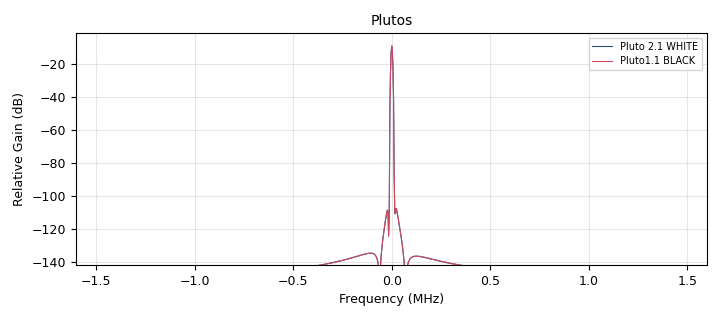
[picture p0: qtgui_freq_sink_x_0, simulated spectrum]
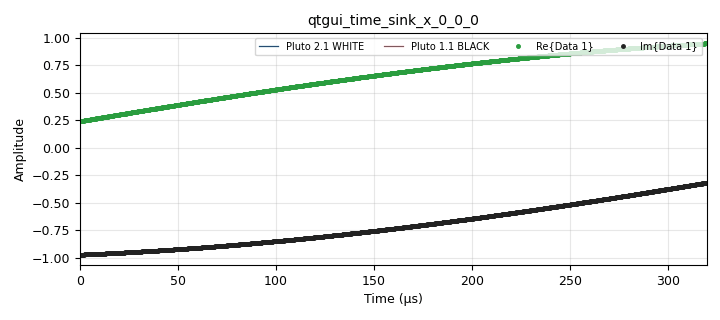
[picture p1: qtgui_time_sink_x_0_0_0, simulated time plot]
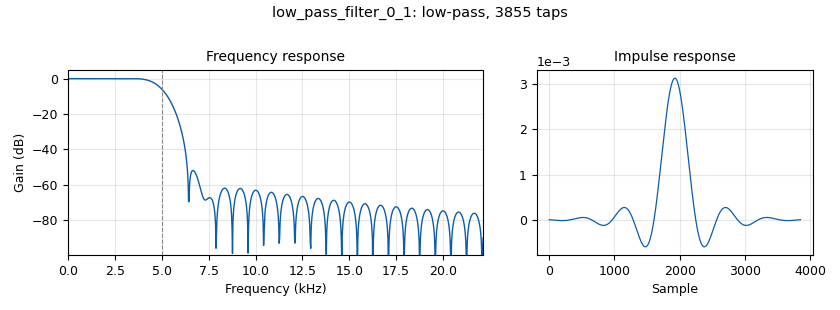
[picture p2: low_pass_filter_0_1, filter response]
options:
  parameters:
    generate_options: qt_gui
    id: clockSync
    output_language: python
    title: Clock Sync
  states: {}

blocks:
- name: baseband
  id: variable
  parameters:
    value: '500'
  states: {}
- name: freq
  id: variable
  parameters:
    value: '100000000'
  states: {}
- name: samp_rate
  id: variable
  parameters:
    value: '3200000'
  states: {}
- name: analog_sig_source_x_0
  id: analog_sig_source_x
  parameters:
    amp: '1'
    freq: baseband
    offset: '0'
    phase: '0'
    samp_rate: samp_rate
    type: complex
    waveform: analog.GR_COS_WAVE
  states: {state: disabled}
- name: analog_sig_source_x_0_0
  id: analog_sig_source_x
  parameters:
    amp: '1'
    freq: baseband
    offset: '0'
    phase: '0'
    samp_rate: samp_rate
    type: complex
    waveform: analog.GR_COS_WAVE
  states: {}
- name: iio_pluto_sink_0
  id: iio_pluto_sink
  parameters:
    attenuation1: '0.0'
    bandwidth: '20000000'
    buffer_size: '32768'
    cyclic: 'False'
    filter_source: '''Auto'''
    frequency: freq
    samplerate: samp_rate
    type: fc32
    uri: ip:192.168.3.1
  states: {state: disabled}
- name: iio_pluto_sink_0_0
  id: iio_pluto_sink
  parameters:
    attenuation1: '0.0'
    bandwidth: '20000000'
    buffer_size: '32768'
    cyclic: 'False'
    filter_source: '''Auto'''
    frequency: freq
    samplerate: samp_rate
    type: fc32
    uri: ip:192.168.2.1
  states: {}
- name: iio_pluto_sink_0_0_0
  id: iio_pluto_sink
  parameters:
    attenuation1: '0.0'
    bandwidth: '20000000'
    buffer_size: '32768'
    cyclic: 'False'
    filter_source: '''Auto'''
    frequency: freq
    samplerate: samp_rate
    type: fc32
    uri: ip:192.168.1.1
  states: {}
- name: iio_pluto_source_0
  id: iio_pluto_source
  parameters:
    bandwidth: '20000000'
    bbdc: 'True'
    buffer_size: '32768'
    filter_source: '''Auto'''
    frequency: freq
    gain1: '''slow_attack'''
    quadrature: 'True'
    rfdc: 'True'
    samplerate: samp_rate
    type: fc32
    uri: ip:192.168.2.1
  states: {state: disabled}
- name: iio_pluto_source_0_0
  id: iio_pluto_source
  parameters:
    bandwidth: '20000000'
    bbdc: 'True'
    buffer_size: '32768'
    filter_source: '''Auto'''
    frequency: freq
    gain1: '''slow_attack'''
    quadrature: 'True'
    rfdc: 'True'
    samplerate: samp_rate
    type: fc32
    uri: ip:192.168.1.1
  states: {state: disabled}
- name: iio_pluto_source_0_1
  id: iio_pluto_source
  parameters:
    bandwidth: '20000000'
    bbdc: 'True'
    buffer_size: '32768'
    filter_source: '''Auto'''
    frequency: freq
    gain1: '''slow_attack'''
    quadrature: 'True'
    rfdc: 'True'
    samplerate: samp_rate
    type: fc32
    uri: ip:192.168.2.4
  states: {state: disabled}
- name: iio_pluto_source_0_2
  id: iio_pluto_source
  parameters:
    bandwidth: '20000000'
    bbdc: 'True'
    buffer_size: '32768'
    filter_source: '''Auto'''
    frequency: freq
    gain1: '''slow_attack'''
    quadrature: 'True'
    rfdc: 'True'
    samplerate: samp_rate
    type: fc32
    uri: ip:192.168.2.5
  states: {state: disabled}
- name: low_pass_filter_0
  id: low_pass_filter
  parameters:
    cutoff_freq: '5000'
    decim: '1'
    gain: '1'
    samp_rate: samp_rate
    type: fir_filter_ccf
    width: '2000'
    win: window.WIN_HAMMING
  states: {state: disabled}
- name: low_pass_filter_0_0
  id: low_pass_filter
  parameters:
    cutoff_freq: '5000'
    decim: '1'
    gain: '1'
    samp_rate: samp_rate
    type: fir_filter_ccf
    width: '2000'
    win: window.WIN_HAMMING
  states: {state: disabled}
- name: low_pass_filter_0_0_0
  id: low_pass_filter
  parameters:
    cutoff_freq: '5000'
    decim: '1'
    gain: '1'
    samp_rate: samp_rate
    type: fir_filter_ccf
    width: '2000'
    win: window.WIN_HAMMING
  states: {state: disabled}
- name: low_pass_filter_0_0_1
  id: low_pass_filter
  parameters:
    cutoff_freq: '5000'
    decim: '1'
    gain: '1'
    samp_rate: samp_rate
    type: fir_filter_ccf
    width: '2000'
    win: window.WIN_HAMMING
  states: {state: disabled}
- name: low_pass_filter_0_0_1_0
  id: low_pass_filter
  parameters:
    cutoff_freq: '5000'
    decim: '1'
    gain: '1'
    samp_rate: samp_rate
    type: fir_filter_ccf
    width: '2000'
    win: window.WIN_HAMMING
  states: {state: disabled}
- name: low_pass_filter_0_1
  id: low_pass_filter
  parameters:
    cutoff_freq: '5000'
    decim: '1'
    gain: '1'
    samp_rate: samp_rate
    type: fir_filter_ccf
    width: '2000'
    win: window.WIN_HAMMING
  states: {}
- name: low_pass_filter_0_1_0
  id: low_pass_filter
  parameters:
    cutoff_freq: '5000'
    decim: '1'
    gain: '1'
    samp_rate: samp_rate
    type: fir_filter_ccf
    width: '2000'
    win: window.WIN_HAMMING
  states: {}
- name: qtgui_freq_sink_x_0
  id: qtgui_freq_sink_x
  parameters:
    autoscale: 'True'
    bw: samp_rate
    fc: '0'
    fftsize: '1024'
    label1: '"Pluto 2.1 WHITE"'
    label2: '"Pluto1.1 BLACK"'
    name: '"Plutos"'
    nconnections: '2'
    type: complex
    ymin: '-180'
  states: {}
- name: qtgui_freq_sink_x_0_0
  id: qtgui_freq_sink_x
  parameters:
    bw: samp_rate
    fc: '0'
    fftsize: '1024'
    label1: '"Pluto 2.1 WHITE"'
    label2: '"Pluto1.1 BLACK"'
    name: '"Plutos"'
    nconnections: '2'
    type: complex
    ymin: '-180'
  states: {state: disabled}
- name: qtgui_freq_sink_x_0_1
  id: qtgui_freq_sink_x
  parameters:
    bw: samp_rate
    fc: '0'
    fftsize: '1024'
    type: complex
  states: {state: disabled}
- name: qtgui_freq_sink_x_0_2
  id: qtgui_freq_sink_x
  parameters:
    bw: samp_rate
    fc: '0'
    fftsize: '1024'
    type: complex
  states: {state: disabled}
- name: qtgui_time_sink_x_0
  id: qtgui_time_sink_x
  parameters:
    label1: Pluto 2.1 WHITE
    label2: Pluto 1.1 BLACK
    nconnections: '2'
    size: '1024'
    srate: samp_rate
    style3: '0'
    style4: '0'
    type: complex
    width3: '0'
    width4: '0'
    ymax: '1.5'
    ymin: '-1.5'
  states: {state: disabled}
- name: qtgui_time_sink_x_0_0
  id: qtgui_time_sink_x
  parameters:
    label1: Pluto 2.1 WHITE
    label2: Pluto 1.1 BLACK
    nconnections: '2'
    size: '1024'
    srate: samp_rate
    style3: '0'
    style4: '0'
    type: complex
    width3: '0'
    width4: '0'
    ymax: '1.5'
    ymin: '-1.5'
  states: {state: disabled}
- name: qtgui_time_sink_x_0_0_0
  id: qtgui_time_sink_x
  parameters:
    autoscale: 'True'
    label1: Pluto 2.1 WHITE
    label2: Pluto 1.1 BLACK
    nconnections: '2'
    size: '1024'
    srate: samp_rate
    style3: '0'
    style4: '0'
    type: complex
    width3: '0'
    width4: '0'
    ymax: '1.5'
    ymin: '-1.5'
  states: {}

connections:
- [analog_sig_source_x_0, '0', low_pass_filter_0, '0']
- [analog_sig_source_x_0_0, '0', low_pass_filter_0_1, '0']
- [analog_sig_source_x_0_0, '0', low_pass_filter_0_1_0, '0']
- [iio_pluto_source_0, '0', low_pass_filter_0_0, '0']
- [iio_pluto_source_0_0, '0', low_pass_filter_0_0_0, '0']
- [iio_pluto_source_0_1, '0', low_pass_filter_0_0_1, '0']
- [iio_pluto_source_0_2, '0', low_pass_filter_0_0_1_0, '0']
- [low_pass_filter_0, '0', iio_pluto_sink_0, '0']
- [low_pass_filter_0_0, '0', qtgui_time_sink_x_0, '0']
- [low_pass_filter_0_0_0, '0', qtgui_time_sink_x_0, '1']
- [low_pass_filter_0_0_0, '0', qtgui_time_sink_x_0_0, '0']
- [low_pass_filter_0_0_0, '0', qtgui_time_sink_x_0_0, '1']
- [low_pass_filter_0_0_1, '0', qtgui_freq_sink_x_0_1, '0']
- [low_pass_filter_0_0_1_0, '0', qtgui_freq_sink_x_0_2, '0']
- [low_pass_filter_0_1, '0', iio_pluto_sink_0_0, '0']
- [low_pass_filter_0_1, '0', qtgui_freq_sink_x_0, '0']
- [low_pass_filter_0_1, '0', qtgui_time_sink_x_0_0_0, '0']
- [low_pass_filter_0_1_0, '0', iio_pluto_sink_0_0_0, '0']
- [low_pass_filter_0_1_0, '0', qtgui_freq_sink_x_0, '1']
- [low_pass_filter_0_1_0, '0', qtgui_time_sink_x_0_0_0, '1']

metadata:
  file_format: 1
